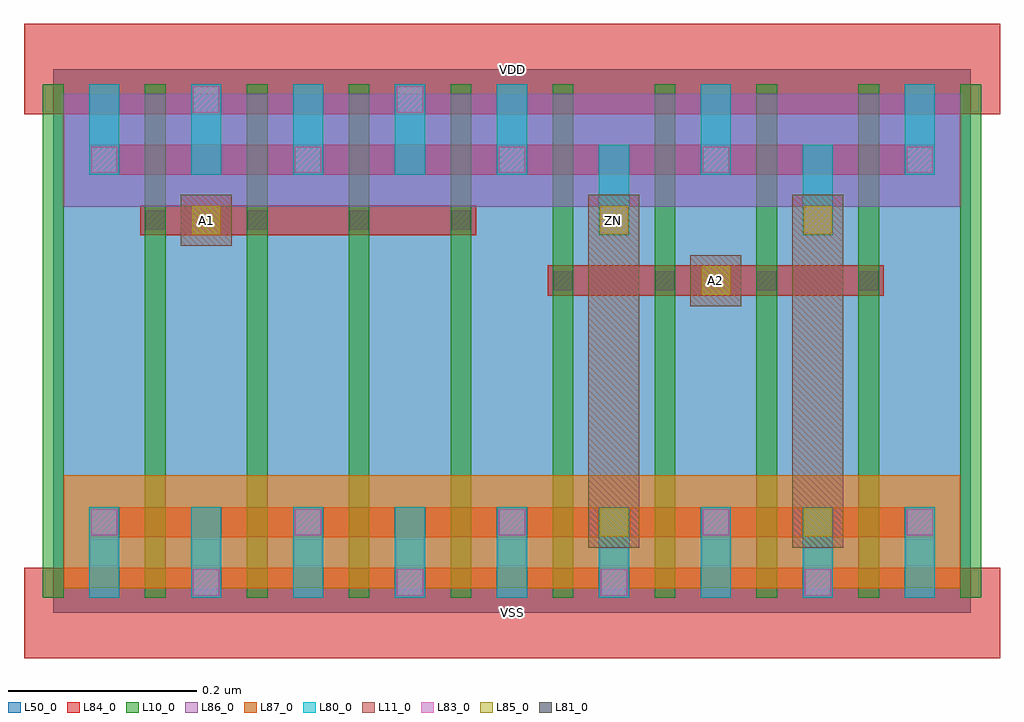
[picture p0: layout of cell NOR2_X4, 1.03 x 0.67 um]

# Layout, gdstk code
import gdstk
lib = gdstk.Library(unit=1e-6, precision=1e-09)
def R(c, l, rs):  # rectangles x0, y0, x1, y1
    for r in rs: c.add(gdstk.rectangle(r[:2], r[2:], *l))
def A(c, l, x, y, w, h, nx, ny, dx, dy):  # array of equal rectangles
    R(c, l, [(x+i*dx, y+j*dy, x+i*dx+w, y+j*dy+h) for i in range(nx) for j in range(ny)])
L10_0 = (10, 0)
L11_0 = (11, 0)
L50_0 = (50, 0)
L80_0 = (80, 0)
L81_0 = (81, 0)
L83_0 = (83, 0)
L84_0 = (84, 0)
L85_0 = (85, 0)
L86_0 = (86, 0)
L87_0 = (87, 0)

nor2_x4 = lib.new_cell('NOR2_X4')
A(nor2_x4, L10_0, -0.011, 0.016, 0.022, 0.544, 10, 1, 0.108, 0)
R(nor2_x4, L11_0, [(0.567,0.069,0.621,0.443), (0.783,0.069,0.837,0.443), (0.675,0.325,0.729,0.379), (0.135,0.389,0.189,0.443)])
R(nor2_x4, L50_0, [(0,0,0.972,0.576)])
A(nor2_x4, L80_0, 0.038, 0.016, 0.032, 0.096, 9, 1, 0.108, 0)
A(nor2_x4, L80_0, 0.038, 0.464, 0.032, 0.096, 5, 1, 0.108, 0)
R(nor2_x4, L80_0, [(0.578,0.4,0.61,0.496), (0.794,0.4,0.826,0.496), (0.686,0.464,0.718,0.56), (0.902,0.464,0.934,0.56)])
A(nor2_x4, L81_0, 0.53, 0.342, 0.02, 0.02, 4, 1, 0.108, 0)
A(nor2_x4, L81_0, 0.098, 0.406, 0.02, 0.02, 4, 1, 0.108, 0)
A(nor2_x4, L83_0, 0.148, 0.018, 0.028, 0.028, 4, 1, 0.216, 0)
A(nor2_x4, L83_0, 0.04, 0.082, 0.028, 0.028, 5, 2, 0.216, 0.384)
R(nor2_x4, L83_0, [(0.58,0.402,0.608,0.43), (0.796,0.402,0.824,0.43), (0.148,0.53,0.176,0.558), (0.364,0.53,0.392,0.558)])
R(nor2_x4, L84_0, [(-0.031,-0.048,1.003,0.048), (0.038,0.08,0.934,0.112), (0.524,0.336,0.88,0.368), (0.092,0.4,0.448,0.432), (0.578,0.4,0.61,0.432), (0.794,0.4,0.826,0.432), (0.038,0.464,0.934,0.496), (-0.031,0.528,1.003,0.624)])
R(nor2_x4, L85_0, [(0.579,0.081,0.609,0.111), (0.795,0.081,0.825,0.111), (0.687,0.337,0.717,0.367), (0.147,0.401,0.177,0.431), (0.579,0.401,0.609,0.431), (0.795,0.401,0.825,0.431)])
R(nor2_x4, L86_0, [(0.011,0.43,0.961,0.55)])
R(nor2_x4, L87_0, [(0.011,0.026,0.961,0.146)])
nor2_x4.add(gdstk.Label('VDD', (0.486,0.576), layer=88, texttype=0))
nor2_x4.add(gdstk.Label('VSS', (0.486,0), layer=88, texttype=0))
nor2_x4.add(gdstk.Label('ZN', (0.594,0.416), layer=31, texttype=0))
nor2_x4.add(gdstk.Label('A2', (0.702,0.352), layer=31, texttype=0))
nor2_x4.add(gdstk.Label('A1', (0.162,0.416), layer=31, texttype=0))

lib.write_gds('NOR2_X4.gds')
